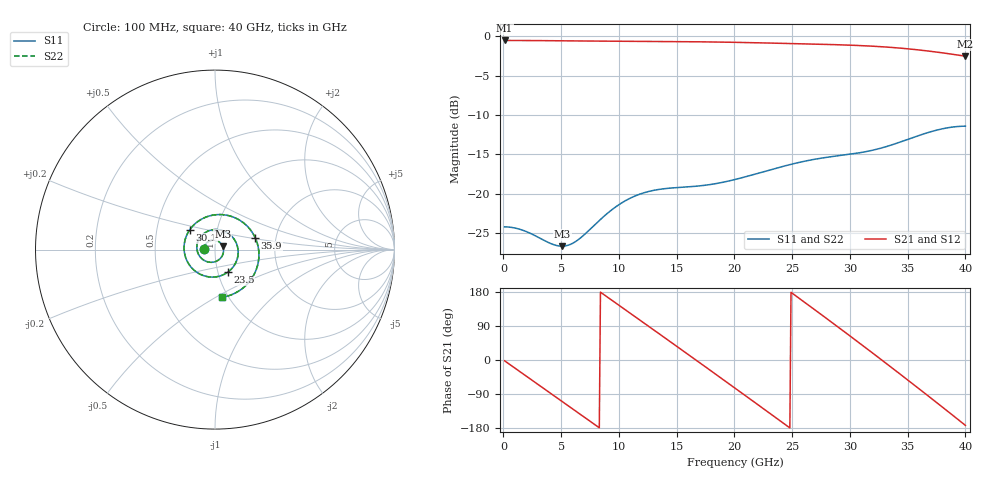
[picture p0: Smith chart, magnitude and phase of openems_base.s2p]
! B_s8_L1L8_d200: L1→L8, no stub, drill Ø0.2
! stackup: 8-layer 1.6 mm FR-4 (generic)
! ports: 1, 2
! openEMS 0.37.0, staircase, base mesh (dfine 0.035 mm), 611065 cells
# Hz S RI R 50
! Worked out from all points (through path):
!   400 points, 100 MHz to 40 GHz, reference 50 ohm
!   highest |S21| = -0.56 dB at 100 MHz (marker M1); lowest = -2.6 dB at 40 GHz (marker M2)
!   group delay of S21, straight-line fit = 61.6 ps
!   lowest |S11| = -26.6 dB at 5.1 GHz (marker M3), VSWR 1.10, Z = 54.5 + j1.9 ohm
!   |S11| at or under -10 dB: start of sweep to end of sweep
!   |S22| runs from -26.6 to -11.4 dB; largest |S21 - S12| = 1.2e-05
!   S11 on the Smith chart (normalised r, x): 100 MHz: 0.88, +0.01; 23.5 GHz: 1.11, -0.29; 30.1 GHz: 0.74, +0.17; 35.9 GHz: 1.56, +0.22; 40 GHz: 0.93, -0.53
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1e8  -0.0618 0.00283  0.9373 -0.0353  0.9373 -0.0353  -0.0618 0.00283
2.8e9  -0.0117 0.0528  0.4625 -0.8141  0.4625 -0.8141  -0.0117 0.0528
5.1e9  0.0433 0.0174  -0.3186 -0.8774  -0.3186 -0.8774  0.0433 0.0174
6.8e9  0.0395 -0.0362  -0.7768 -0.513  -0.7768 -0.513  0.0395 -0.0362
9.6e9  -0.0476 -0.0662  -0.8272 0.419  -0.8272 0.4191  -0.0476 -0.0662
1.16e10  -0.0975 -0.0127  -0.316 0.8698  -0.316 0.8698  -0.0975 -0.0127
1.34e10  -0.0921 0.0536  0.3008 0.8736  0.3008 0.8736  -0.0921 0.0536
1.52e10  -0.0465 0.0996  0.783 0.4872  0.783 0.4872  -0.0465 0.0996
1.67e10  0.00589 0.1117  0.92 -0.0131  0.92 -0.0131  0.00589 0.1117
1.83e10  0.0642 0.0965  0.7437 -0.5367  0.7437 -0.5367  0.0642 0.0965
2.01e10  0.1169 0.0402  0.2311 -0.8828  0.2311 -0.8828  0.1169 0.0402
2.17e10  0.1267 -0.0399  -0.3189 -0.8498  -0.3189 -0.8498  0.1267 -0.0399
2.35e10  0.0698 -0.1267  -0.7836 -0.4459  -0.7836 -0.4459  0.0698 -0.1267
2.51e10  -0.0293 -0.1524  -0.8912 0.092  -0.8912 0.092  -0.0293 -0.1524
2.67e10  -0.1263 -0.1054  -0.6652 0.5916  -0.6652 0.5916  -0.1263 -0.1054
2.84e10  -0.1722 0.000785  -0.1542 0.87  -0.1542 0.87  -0.1722 0.000785
3.01e10  -0.1406 0.1106  0.4196 0.7681  0.4196 0.7681  -0.1406 0.1106
3.18e10  -0.0508 0.1809  0.7999 0.3268  0.7999 0.3268  -0.0508 0.1809
3.34e10  0.0623 0.1921  0.8206 -0.22  0.8206 -0.22  0.0623 0.1921
3.59e10  0.2236 0.0671  0.2268 -0.7857  0.2268 -0.7857  0.2236 0.0671
3.77e10  0.2298 -0.1116  -0.3559 -0.7036  -0.3559 -0.7036  0.2298 -0.1116
4e10  0.0366 -0.2661  -0.7388 -0.0967  -0.7388 -0.0967  0.0366 -0.2661
